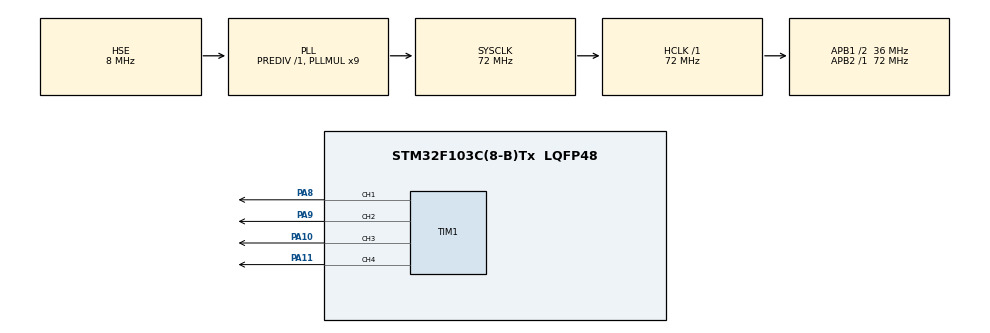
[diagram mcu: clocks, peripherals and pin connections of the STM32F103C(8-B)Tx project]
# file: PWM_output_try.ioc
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Mcu.Family=STM32F1
Mcu.Name=STM32F103C(8-B)Tx
Mcu.Package=LQFP48
NVIC.PriorityGroup=NVIC_PRIORITYGROUP_4
PA10.Signal=S_TIM1_CH3
PA11.Signal=S_TIM1_CH4
PA8.Signal=S_TIM1_CH1
PA9.Signal=S_TIM1_CH2
PD0-OSC_IN.Mode=HSE-External-Oscillator
PD0-OSC_IN.Signal=RCC_OSC_IN
PD1-OSC_OUT.Mode=HSE-External-Oscillator
PD1-OSC_OUT.Signal=RCC_OSC_OUT
ProjectManager.HeapSize=0x200
ProjectManager.StackSize=0x400
ProjectManager.TargetToolchain=SW4STM32
RCC.AHBFreq_Value=72000000
RCC.APB1CLKDivider=RCC_HCLK_DIV2
RCC.APB1Freq_Value=36000000
RCC.APB1TimFreq_Value=72000000
RCC.APB2Freq_Value=72000000
RCC.APB2TimFreq_Value=72000000
RCC.HCLKFreq_Value=72000000
RCC.PLLMUL=RCC_PLL_MUL9
RCC.PLLSourceVirtual=RCC_PLLSOURCE_HSE
RCC.SYSCLKFreq_VALUE=72000000
RCC.SYSCLKSource=RCC_SYSCLKSOURCE_PLLCLK
RCC.USBFreq_Value=72000000
SH.S_TIM1_CH1.0=TIM1_CH1,PWM Generation1 CH1
SH.S_TIM1_CH2.0=TIM1_CH2,PWM Generation2 CH2
SH.S_TIM1_CH3.0=TIM1_CH3,PWM Generation3 CH3
SH.S_TIM1_CH4.0=TIM1_CH4,PWM Generation4 CH4
TIM1.Channel-PWM\ Generation1\ CH1=TIM_CHANNEL_1
TIM1.Channel-PWM\ Generation2\ CH2=TIM_CHANNEL_2
TIM1.Channel-PWM\ Generation3\ CH3=TIM_CHANNEL_3
TIM1.Channel-PWM\ Generation4\ CH4=TIM_CHANNEL_4
VP_TIM1_VS_ClockSourceINT.Mode=Internal
board=PWM_output_try

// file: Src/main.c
/**
  ******************************************************************************
  * File Name          : main.c
  * Description        : Main program body
  ******************************************************************************
  ** This notice applies to any and all portions of this file
  * that are not between comment pairs USER CODE BEGIN and
  * USER CODE END. Other portions of this file, whether
  * inserted by the user or by software development tools
  * are owned by their respective copyright owners.
  *
  * COPYRIGHT(c) 2017 STMicroelectronics
  *
  * Redistribution and use in source and binary forms, with or without modification,
  * are permitted provided that the following conditions are met:
  *   1. Redistributions of source code must retain the above copyright notice,
  *      this list of conditions and the following disclaimer.
  *   2. Redistributions in binary form must reproduce the above copyright notice,
  *      this list of conditions and the following disclaimer in the documentation
  *      and/or other materials provided with the distribution.
  *   3. Neither the name of STMicroelectronics nor the names of its contributors
  *      may be used to endorse or promote products derived from this software
  *      without specific prior written permission.
  *
  * THIS SOFTWARE IS PROVIDED BY THE COPYRIGHT HOLDERS AND CONTRIBUTORS "AS IS"
  * AND ANY EXPRESS OR IMPLIED WARRANTIES, INCLUDING, BUT NOT LIMITED TO, THE
  * IMPLIED WARRANTIES OF MERCHANTABILITY AND FITNESS FOR A PARTICULAR PURPOSE ARE
  * DISCLAIMED. IN NO EVENT SHALL THE COPYRIGHT HOLDER OR CONTRIBUTORS BE LIABLE
  * FOR ANY DIRECT, INDIRECT, INCIDENTAL, SPECIAL, EXEMPLARY, OR CONSEQUENTIAL
  * DAMAGES (INCLUDING, BUT NOT LIMITED TO, PROCUREMENT OF SUBSTITUTE GOODS OR
  * SERVICES; LOSS OF USE, DATA, OR PROFITS; OR BUSINESS INTERRUPTION) HOWEVER
  * CAUSED AND ON ANY THEORY OF LIABILITY, WHETHER IN CONTRACT, STRICT LIABILITY,
  * OR TORT (INCLUDING NEGLIGENCE OR OTHERWISE) ARISING IN ANY WAY OUT OF THE USE
  * OF THIS SOFTWARE, EVEN IF ADVISED OF THE POSSIBILITY OF SUCH DAMAGE.
  *
  ******************************************************************************
  */
#include "main.h"
#include "stm32f1xx_hal.h"

TIM_HandleTypeDef htim1;

/* USER CODE BEGIN PV */
/* Private variables ---------------------------------------------------------*/
/* Private typedef -----------------------------------------------------------*/
#define  PERIOD_VALUE       (uint32_t)(700 - 1)  /* Period Value  */
#define  PULSE1_VALUE       (uint32_t)(PERIOD_VALUE/2)        /* Capture Compare 1 Value  */
#define  PULSE2_VALUE       (uint32_t)(PERIOD_VALUE*37.5/100) /* Capture Compare 2 Value  */
#define  PULSE3_VALUE       (uint32_t)(PERIOD_VALUE/4)        /* Capture Compare 3 Value  */
#define  PULSE4_VALUE       (uint32_t)(PERIOD_VALUE*12.5/100) /* Capture Compare 4 Value  */

/* USER CODE END PV */

void SystemClock_Config(void);
static void MX_GPIO_Init(void);
static void MX_TIM1_Init(void);
void HAL_TIM_MspPostInit(TIM_HandleTypeDef *htim);

TIM_HandleTypeDef    TimHandle;

/* Timer Output Compare Configuration Structure declaration */
TIM_OC_InitTypeDef sConfig;

/* Counter Prescaler value */
uint32_t uhPrescalerValue = 0;

/* USER CODE BEGIN PFP */
/* Private function prototypes -----------------------------------------------*/

/* USER CODE END PFP */

int main(void)
{

  /* MCU Configuration----------------------------------------------------------*/

  /* Reset of all peripherals, Initializes the Flash interface and the Systick. */
  HAL_Init();

  /* Configure the system clock */
  SystemClock_Config();

  /* Initialize all configured peripherals */
  MX_GPIO_Init();
  MX_TIM1_Init();

  /* USER CODE BEGIN 2 */
  uhPrescalerValue = (uint32_t)(SystemCoreClock / 2000000) - 1;

  TimHandle.Instance = TIM1;

    TimHandle.Init.Prescaler         = uhPrescalerValue;
    TimHandle.Init.Period            = PERIOD_VALUE;
    TimHandle.Init.ClockDivision     = 0;
    TimHandle.Init.CounterMode       = TIM_COUNTERMODE_UP;
    TimHandle.Init.RepetitionCounter = 0;
    if (HAL_TIM_PWM_Init(&TimHandle) != HAL_OK)
    {
      /* Initialization Error */
      Error_Handler();
    }

    /*##-2- Configure the PWM channels #########################################*/
    /* Common configuration for all channels */
    sConfig.OCMode       = TIM_OCMODE_PWM1;
    sConfig.OCPolarity   = TIM_OCPOLARITY_HIGH;
    sConfig.OCFastMode   = TIM_OCFAST_DISABLE;
    sConfig.OCNPolarity  = TIM_OCNPOLARITY_HIGH;
    sConfig.OCNIdleState = TIM_OCNIDLESTATE_RESET;

    sConfig.OCIdleState  = TIM_OCIDLESTATE_RESET;

    /* Set the pulse value for channel 1 */
    sConfig.Pulse = PULSE1_VALUE;
    if (HAL_TIM_PWM_ConfigChannel(&TimHandle, &sConfig, TIM_CHANNEL_1) != HAL_OK)
    {
      /* Configuration Error */
      Error_Handler();
    }

    /* Set the pulse value for channel 2 */
    sConfig.Pulse = PULSE2_VALUE;
    if (HAL_TIM_PWM_ConfigChannel(&TimHandle, &sConfig, TIM_CHANNEL_2) != HAL_OK)
    {
      /* Configuration Error */
      Error_Handler();
    }

    /* Set the pulse value for channel 3 */
    sConfig.Pulse = PULSE3_VALUE;
    if (HAL_TIM_PWM_ConfigChannel(&TimHandle, &sConfig, TIM_CHANNEL_3) != HAL_OK)
    {
      /* Configuration Error */
      Error_Handler();
    }

    /* Set the pulse value for channel 4 */
    sConfig.Pulse = PULSE4_VALUE;
    if (HAL_TIM_PWM_ConfigChannel(&TimHandle, &sConfig, TIM_CHANNEL_4) != HAL_OK)
    {
      /* Configuration Error */
      Error_Handler();
    }

    /*##-3- Start PWM signals generation #######################################*/
    /* Start channel 1 */
    if (HAL_TIM_PWM_Start(&TimHandle, TIM_CHANNEL_1) != HAL_OK)
    {
      /* PWM Generation Error */
      Error_Handler();
    }
    /* Start channel 2 */
    if (HAL_TIM_PWM_Start(&TimHandle, TIM_CHANNEL_2) != HAL_OK)
    {
      /* PWM Generation Error */
      Error_Handler();
    }
    /* Start channel 3 */
    if (HAL_TIM_PWM_Start(&TimHandle, TIM_CHANNEL_3) != HAL_OK)
    {
      /* PWM generation Error */
      Error_Handler();
    }
    /* Start channel 4 */
    if (HAL_TIM_PWM_Start(&TimHandle, TIM_CHANNEL_4) != HAL_OK)
    {
      /* PWM generation Error */
      Error_Handler();
    }
  /* USER CODE END 2 */

  /* Infinite loop */
  while (1)
  {

  }

}

/** System Clock Configuration
*/
void SystemClock_Config(void)
{

  RCC_OscInitTypeDef RCC_OscInitStruct;
  RCC_ClkInitTypeDef RCC_ClkInitStruct;

    /**Initializes the CPU, AHB and APB busses clocks
    */
  RCC_OscInitStruct.OscillatorType = RCC_OSCILLATORTYPE_HSE;
  RCC_OscInitStruct.HSEState = RCC_HSE_ON;
  RCC_OscInitStruct.HSEPredivValue = RCC_HSE_PREDIV_DIV1;
  RCC_OscInitStruct.HSIState = RCC_HSI_ON;
  RCC_OscInitStruct.PLL.PLLState = RCC_PLL_ON;
  RCC_OscInitStruct.PLL.PLLSource = RCC_PLLSOURCE_HSE;
  RCC_OscInitStruct.PLL.PLLMUL = RCC_PLL_MUL9;
  if (HAL_RCC_OscConfig(&RCC_OscInitStruct) != HAL_OK)
  {
    _Error_Handler(__FILE__, __LINE__);
  }

    /**Initializes the CPU, AHB and APB busses clocks
    */
  RCC_ClkInitStruct.ClockType = RCC_CLOCKTYPE_HCLK|RCC_CLOCKTYPE_SYSCLK
                              |RCC_CLOCKTYPE_PCLK1|RCC_CLOCKTYPE_PCLK2;
  RCC_ClkInitStruct.SYSCLKSource = RCC_SYSCLKSOURCE_PLLCLK;
  RCC_ClkInitStruct.AHBCLKDivider = RCC_SYSCLK_DIV1;
  RCC_ClkInitStruct.APB1CLKDivider = RCC_HCLK_DIV2;
  RCC_ClkInitStruct.APB2CLKDivider = RCC_HCLK_DIV1;

  if (HAL_RCC_ClockConfig(&RCC_ClkInitStruct, FLASH_LATENCY_2) != HAL_OK)
  {
    _Error_Handler(__FILE__, __LINE__);
  }

    /**Configure the Systick interrupt time
    */
  HAL_SYSTICK_Config(HAL_RCC_GetHCLKFreq()/1000);

    /**Configure the Systick
    */
  HAL_SYSTICK_CLKSourceConfig(SYSTICK_CLKSOURCE_HCLK);

  /* SysTick_IRQn interrupt configuration */
  HAL_NVIC_SetPriority(SysTick_IRQn, 0, 0);
}

/* TIM1 init function */
static void MX_TIM1_Init(void)
{

  TIM_ClockConfigTypeDef sClockSourceConfig;
  TIM_MasterConfigTypeDef sMasterConfig;
  TIM_OC_InitTypeDef sConfigOC;
  TIM_BreakDeadTimeConfigTypeDef sBreakDeadTimeConfig;

  htim1.Instance = TIM1;
  htim1.Init.Prescaler = 0;
  htim1.Init.CounterMode = TIM_COUNTERMODE_UP;
  htim1.Init.Period = 0;
  htim1.Init.ClockDivision = TIM_CLOCKDIVISION_DIV1;
  htim1.Init.RepetitionCounter = 0;
  if (HAL_TIM_Base_Init(&htim1) != HAL_OK)
  {
    _Error_Handler(__FILE__, __LINE__);
  }

  sClockSourceConfig.ClockSource = TIM_CLOCKSOURCE_INTERNAL;
  if (HAL_TIM_ConfigClockSource(&htim1, &sClockSourceConfig) != HAL_OK)
  {
    _Error_Handler(__FILE__, __LINE__);
  }

  if (HAL_TIM_PWM_Init(&htim1) != HAL_OK)
  {
    _Error_Handler(__FILE__, __LINE__);
  }

  sMasterConfig.MasterOutputTrigger = TIM_TRGO_RESET;
  sMasterConfig.MasterSlaveMode = TIM_MASTERSLAVEMODE_DISABLE;
  if (HAL_TIMEx_MasterConfigSynchronization(&htim1, &sMasterConfig) != HAL_OK)
  {
    _Error_Handler(__FILE__, __LINE__);
  }

  sConfigOC.OCMode = TIM_OCMODE_PWM1;
  sConfigOC.Pulse = 0;
  sConfigOC.OCPolarity = TIM_OCPOLARITY_HIGH;
  sConfigOC.OCNPolarity = TIM_OCNPOLARITY_HIGH;
  sConfigOC.OCFastMode = TIM_OCFAST_DISABLE;
  sConfigOC.OCIdleState = TIM_OCIDLESTATE_RESET;
  sConfigOC.OCNIdleState = TIM_OCNIDLESTATE_RESET;
  if (HAL_TIM_PWM_ConfigChannel(&htim1, &sConfigOC, TIM_CHANNEL_1) != HAL_OK)
  {
    _Error_Handler(__FILE__, __LINE__);
  }

  if (HAL_TIM_PWM_ConfigChannel(&htim1, &sConfigOC, TIM_CHANNEL_2) != HAL_OK)
  {
    _Error_Handler(__FILE__, __LINE__);
  }

  if (HAL_TIM_PWM_ConfigChannel(&htim1, &sConfigOC, TIM_CHANNEL_3) != HAL_OK)
  {
    _Error_Handler(__FILE__, __LINE__);
  }

  if (HAL_TIM_PWM_ConfigChannel(&htim1, &sConfigOC, TIM_CHANNEL_4) != HAL_OK)
  {
    _Error_Handler(__FILE__, __LINE__);
  }

  sBreakDeadTimeConfig.OffStateRunMode = TIM_OSSR_DISABLE;
  sBreakDeadTimeConfig.OffStateIDLEMode = TIM_OSSI_DISABLE;
  sBreakDeadTimeConfig.LockLevel = TIM_LOCKLEVEL_OFF;
  sBreakDeadTimeConfig.DeadTime = 0;
  sBreakDeadTimeConfig.BreakState = TIM_BREAK_DISABLE;
  sBreakDeadTimeConfig.BreakPolarity = TIM_BREAKPOLARITY_HIGH;
  sBreakDeadTimeConfig.AutomaticOutput = TIM_AUTOMATICOUTPUT_DISABLE;
  if (HAL_TIMEx_ConfigBreakDeadTime(&htim1, &sBreakDeadTimeConfig) != HAL_OK)
  {
    _Error_Handler(__FILE__, __LINE__);
  }

  HAL_TIM_MspPostInit(&htim1);

}

/** Configure pins as
        * Analog
        * Input
        * Output
        * EVENT_OUT
        * EXTI
*/
static void MX_GPIO_Init(void)
{

  /* GPIO Ports Clock Enable */
  __HAL_RCC_GPIOD_CLK_ENABLE();
  __HAL_RCC_GPIOA_CLK_ENABLE();

}

void _Error_Handler(char * file, int line)
{
  while(1)
  {
  }
}

/************************ (C) COPYRIGHT STMicroelectronics *****END OF FILE****/
